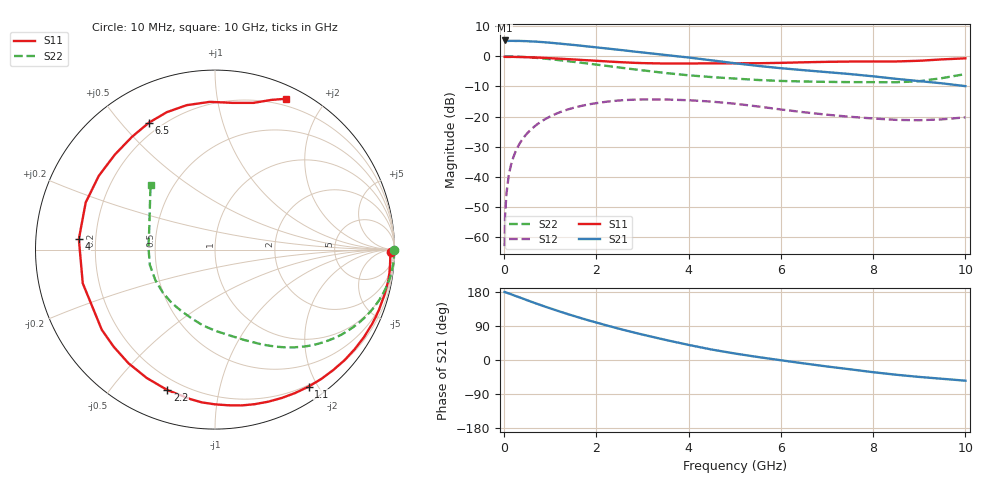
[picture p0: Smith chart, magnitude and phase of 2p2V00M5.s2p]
! (c) 2009  Infineon Technologies AG, Munich
! Infineon Technologies  Discrete & RF Semiconductors
! BFP420
! VCE =  2.0 V,  IC =  0.5 mA
! Common Emitter S-Parameters:  Nov 2009
# GHz  S  MA  R  50
!  f  S11  S21  S12  S22
! GHz  MAG  ANG  MAG  ANG  MAG  ANG  MAG  ANG
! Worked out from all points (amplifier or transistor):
!   46 points, 10 MHz to 10 GHz, reference 50 ohm
!   highest |S21| = 5.3 dB at 10 MHz (marker M1)
!   |S21| within 3 dB of that: start of sweep to 2.424 GHz
!   unconditionally stable (mu >= 1): 4.408 GHz to end of sweep
!   at 300 MHz: K = 0.02, MSG = 17.5 dB, |S12| = -30.0 dB
!   at 1.7 GHz: K = 0.28, MSG = 9.9 dB, |S12| = -16.4 dB
!   at 10 GHz: K = 1.61, MAG = 0.6 dB, |S12| = -20.3 dB
!   lowest NFmin = 0.68 dB at 900 MHz
!   S11 on the Smith chart (normalised r, x): 10 MHz: 70, -55; 1.1 GHz: 0.18, -1.88; 2.2 GHz: 0.14, -0.71; 4 GHz: 0.14, +0.04; 6.5 GHz: 0.15, +0.60; 10 GHz: 0.13, +1.57
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0.01  0.9825 -0.8  1.839 179.5  0.0007 71.9  0.9987 -0.1
0.02  0.9823 -1.0  1.787 179.5  0.0022 87.1  0.9985 -0.5
0.05  0.9776 -2.5  1.798 177.7  0.0052 89.3  0.9986 -1.4
0.1  0.9791 -5.1  1.809 175.7  0.0106 87.1  0.9979 -2.9
0.2  0.981 -10.1  1.811 171.2  0.0211 83.7  0.9939 -5.8
0.35  0.974 -17.7  1.805 164.5  0.0371 79.0  0.9841 -10.1
0.5  0.9685 -25.3  1.788 157.7  0.0527 74.0  0.9694 -14.3
0.8  0.9489 -40.5  1.733 144.6  0.0823 64.1  0.9294 -22.2
1.1  0.9245 -55.7  1.658 132.2  0.109 54.5  0.8814 -29.5
1.4  0.8978 -70.7  1.576 120.3  0.1324 45.2  0.8301 -36.3
1.7  0.8704 -85.2  1.495 109.3  0.1518 36.5  0.7789 -42.3
2.2  0.8266 -108.7  1.36 92.0  0.1755 22.8  0.6982 -51.3
2.8  0.782 -136.2  1.207 73.0  0.1906 7.5  0.611 -61.0
3.5  0.7604 -165.7  1.054 53.0  0.1921 -8.2  0.5289 -72.1
4  0.7608 175.6  0.957 39.8  0.1867 -17.5  0.4847 -80.4
4.5  0.7667 160.0  0.859 27.6  0.1771 -26.1  0.4525 -89.7
5.5  0.7691 136.5  0.695 7.9  0.1472 -39.1  0.4052 -108.6
6.5  0.7973 117.5  0.589 -9.0  0.1178 -44.3  0.3826 -129.3
7  0.8114 109.3  0.547 -17.1  0.1072 -44.1  0.3767 -140.5
8.5  0.8233 83.1  0.423 -38.9  0.088 -37.2  0.3711 177.8
9  0.8451 75.3  0.388 -44.7  0.0868 -32.2  0.3866 161.2
10  0.9276 64.9  0.32 -54.6  0.097 -24.3  0.508 135.0
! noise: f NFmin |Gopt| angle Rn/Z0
0.9  0.68  0.78  35  0.65
1.8  1.42  0.6  75  0.5
2.4  1.57  0.58  98  0.37
3  2.1  0.58  128  0.24
4  2.49  0.57  177  0.09
